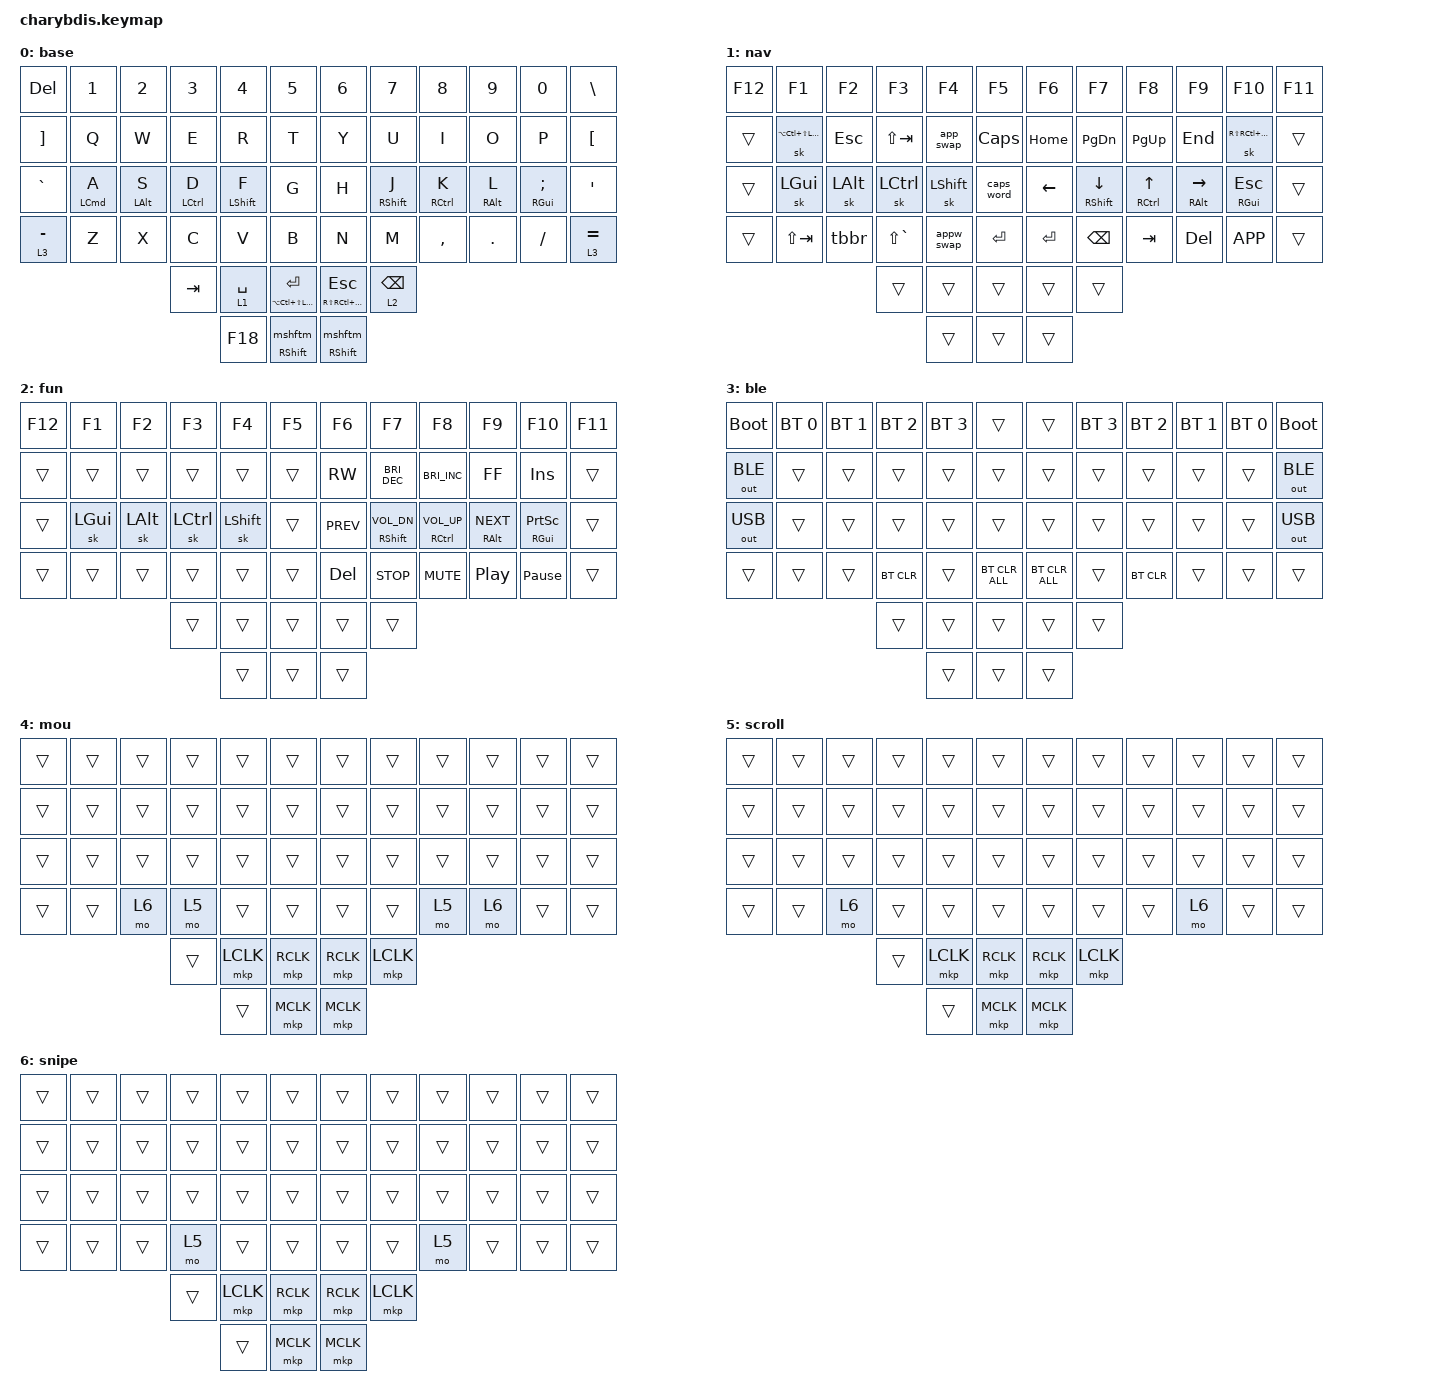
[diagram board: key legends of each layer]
#include <dt-bindings/zmk/mouse.h>
#include <behaviors.dtsi>
#include <dt-bindings/zmk/bt.h>
#include <dt-bindings/zmk/keys.h>
#include <dt-bindings/zmk/pointing.h>
#include <dt-bindings/zmk/outputs.h>

#define QT_MS 180
#define HMR_RPI_MS 175
#define HCMB_RPI_MS 150
#define VCMB_RPI_MS 50
#define VCMB_MS 35
#define HCMB_MS 25
#define TCMB_RPI_MS 50
#define TCMB_MS 25
#define LHYPER LA(LC(LS(LGUI)))
#define RHYPER RS(RC(RA(RGUI)))

#define MSHFT &mshft RSHFT 0

&lt {
    tapping-term-ms = <180>;
    quick-tap-ms = <160>;
};

&sk {
    release-after-ms = <900>;
    quick-release;
};

/ {
    behaviors {
        lpht: left_positional_hold_tap {
            compatible = "zmk,behavior-hold-tap";
            #binding-cells = <2>;
            bindings = <&kp>, <&kp>;

            flavor = "balanced";
            tapping-term-ms = <220>;
            quick-tap-ms = <QT_MS>;
            require-prior-idle-ms = <HMR_RPI_MS>;
            hold-trigger-key-positions = <6 7 8 9 10 11 18 19 20 21 22 23 30 31 32 33 34 35 42 43 44 45 46 47 48 49 50 51 52 53 54 55>;
            hold-trigger-on-release;
        };

        rpht: right_positional_hold_tap {
            compatible = "zmk,behavior-hold-tap";
            #binding-cells = <2>;
            bindings = <&kp>, <&kp>;

            flavor = "balanced";
            tapping-term-ms = <220>;
            quick-tap-ms = <QT_MS>;
            require-prior-idle-ms = <HMR_RPI_MS>;
            hold-trigger-key-positions = <0 1 2 3 4 5 12 13 14 15 16 17 24 25 26 27 28 29 36 37 38 39 40 41 48 49 50 51 52 53 54 55>;
            hold-trigger-on-release;
        };

        mshftm: magic_shift_morph {
            compatible = "zmk,behavior-mod-morph";
            #binding-cells = <0>;
            bindings = <&sk RSHFT>, <&caps_word>;

            mods = <(MOD_RSFT)>;
        };

        mshft: magic_shift {
            compatible = "zmk,behavior-hold-tap";
            #binding-cells = <2>;
            bindings = <&kp>, <&mshftm>;

            flavor = "balanced";
            tapping-term-ms = <200>;
            quick-tap-ms = <160>;
            require-prior-idle-ms = <HMR_RPI_MS>;
        };
    };

    app_swap: app_swapper {
        compatible = "zmk,behavior-tri-state";
        #binding-cells = <0>;
        bindings = <&kt LGUI>, <&kp TAB>, <&kt LGUI>;

        ignored-key-positions = <15>;
    };

    appw_swap: app_win_swapper {
        compatible = "zmk,behavior-tri-state";
        #binding-cells = <0>;
        bindings = <&kt LGUI>, <&kp GRAVE>, <&kt LGUI>;

        ignored-key-positions = <39>;
    };

    tbbr: tabber {
        compatible = "zmk,behavior-tri-state";
        #binding-cells = <0>;
        bindings = <&kt LCTRL>, <&kp TAB>, <&kt LCTRL>;

        ignored-key-positions = <37>;
    };

    combos { compatible = "zmk,combos"; };

    keymap {
        compatible = "zmk,keymap";

        base {
            bindings = <
&kp DEL      &kp N1        &kp N2        &kp N3         &kp N4         &kp N5                &kp N6            &kp N7         &kp N8         &kp N9        &kp N0           &kp BSLH
&kp RBKT     &kp Q         &kp W         &kp E          &kp R          &kp T                 &kp Y             &kp U          &kp I          &kp O         &kp P            &kp LBKT
&kp GRAVE    &lpht LCMD A  &lpht LALT S  &lpht LCTRL D  &lpht LSHFT F  &kp G                 &kp H             &rpht RSHFT J  &rpht RCTRL K  &rpht RALT L  &rpht RGUI SEMI  &kp APOS
&lt 3 MINUS  &kp Z         &kp X         &kp C          &kp V          &kp B                 &kp N             &kp M          &kp COMMA      &kp DOT       &kp SLASH        &lt 3 EQUAL
                                         &kp TAB        &lt 1 SPACE    &lpht LHYPER ENTER    &rpht RHYPER ESC  &lt 2 BSPC
                                                        &kp F18        MSHFT                 MSHFT
            >;
        };

        nav {
            bindings = <
&kp F12  &kp F1       &kp F2    &kp F3         &kp F4      &kp F5        &kp F6     &kp F7            &kp F8            &kp F9            &kp F10         &kp F11
&trans   &sk LHYPER   &kp ESC   &kp LS(TAB)    &app_swap   &kp CAPS      &kp HOME   &kp PG_DN         &kp PG_UP         &kp END           &sk RHYPER      &trans
&trans   &sk LGUI     &sk LALT  &sk LCTRL      &sk LSHFT   &caps_word    &kp LEFT   &rpht RSHFT DOWN  &rpht RCTRL UP    &rpht RALT RIGHT  &rpht RGUI ESC  &trans
&trans   &kp LS(TAB)  &tbbr     &kp LS(GRAVE)  &appw_swap  &kp ENTER     &kp ENTER  &kp BSPC          &kp TAB           &kp DEL           &kp K_APP       &trans
                                &trans         &trans      &trans        &trans     &trans
                                               &trans      &trans        &trans
            >;
        };

        fun {
            bindings = <
&kp F12  &kp F1    &kp F2    &kp F3     &kp F4     &kp F5    &kp F6       &kp F7               &kp F8                &kp F9             &kp F10            &kp F11
&trans   &trans    &trans    &trans     &trans     &trans    &kp C_RW     &kp C_BRI_DEC        &kp C_BRI_INC         &kp C_FF           &kp INSERT         &trans
&trans   &sk LGUI  &sk LALT  &sk LCTRL  &sk LSHFT  &trans    &kp C_PREV   &rpht RSHFT C_VOL_DN &rpht RCTRL C_VOL_UP  &rpht RALT C_NEXT  &rpht RGUI PSCRN   &trans
&trans   &trans    &trans    &trans     &trans     &trans    &kp DEL      &kp C_STOP           &kp C_MUTE            &kp C_PP           &kp PAUSE_BREAK    &trans
                             &trans     &trans     &trans    &trans       &trans
                                        &trans     &trans    &trans
            >;
        };
        
        ble {
            bindings = <
&bootloader  &bt BT_SEL 0  &bt BT_SEL 1  &bt BT_SEL 2  &bt BT_SEL 3  &trans          &trans           &bt BT_SEL 3  &bt BT_SEL 2  &bt BT_SEL 1  &bt BT_SEL 0  &bootloader
&out OUT_BLE &trans        &trans        &trans        &trans        &trans          &trans           &trans        &trans        &trans        &trans        &out OUT_BLE
&out OUT_USB &trans        &trans        &trans        &trans        &trans          &trans           &trans        &trans        &trans        &trans        &out OUT_USB
&trans       &trans        &trans        &bt BT_CLR    &trans        &bt BT_CLR_ALL  &bt BT_CLR_ALL   &trans        &bt BT_CLR    &trans        &trans        &trans
                                         &trans        &trans        &trans          &trans           &trans
                                                       &trans        &trans          &trans
            >;
        };

        mou {
            bindings = <
&trans   &trans        &trans        &trans     &trans     &trans          &trans      &trans     &trans    &trans        &trans        &trans
&trans   &trans        &trans        &trans     &trans     &trans          &trans      &trans     &trans    &trans        &trans        &trans
&trans   &trans        &trans        &trans     &trans     &trans          &trans      &trans     &trans    &trans        &trans        &trans
&trans   &trans        &mo 6         &mo 5      &trans     &trans          &trans      &trans     &mo 5     &mo 6         &trans        &trans
                                     &trans     &mkp LCLK  &mkp RCLK       &mkp RCLK   &mkp LCLK
                                                &trans     &mkp MCLK       &mkp MCLK
            >;
        };

        scroll {
            bindings = <
&trans   &trans        &trans        &trans     &trans     &trans          &trans      &trans     &trans    &trans        &trans        &trans
&trans   &trans        &trans        &trans     &trans     &trans          &trans      &trans     &trans    &trans        &trans        &trans
&trans   &trans        &trans        &trans     &trans     &trans          &trans      &trans     &trans    &trans        &trans        &trans
&trans   &trans        &mo 6         &trans     &trans     &trans          &trans      &trans     &trans    &mo 6         &trans        &trans
                                     &trans     &mkp LCLK  &mkp RCLK       &mkp RCLK   &mkp LCLK
                                                &trans     &mkp MCLK       &mkp MCLK
            >;
        };

        snipe {
            bindings = <
&trans   &trans        &trans        &trans     &trans     &trans          &trans      &trans     &trans    &trans        &trans        &trans
&trans   &trans        &trans        &trans     &trans     &trans          &trans      &trans     &trans    &trans        &trans        &trans
&trans   &trans        &trans        &trans     &trans     &trans          &trans      &trans     &trans    &trans        &trans        &trans
&trans   &trans        &trans        &mo 5      &trans     &trans          &trans      &trans     &mo 5     &trans        &trans        &trans
                                     &trans     &mkp LCLK  &mkp RCLK       &mkp RCLK   &mkp LCLK
                                                &trans     &mkp MCLK       &mkp MCLK
            >;
        };
    };
};
